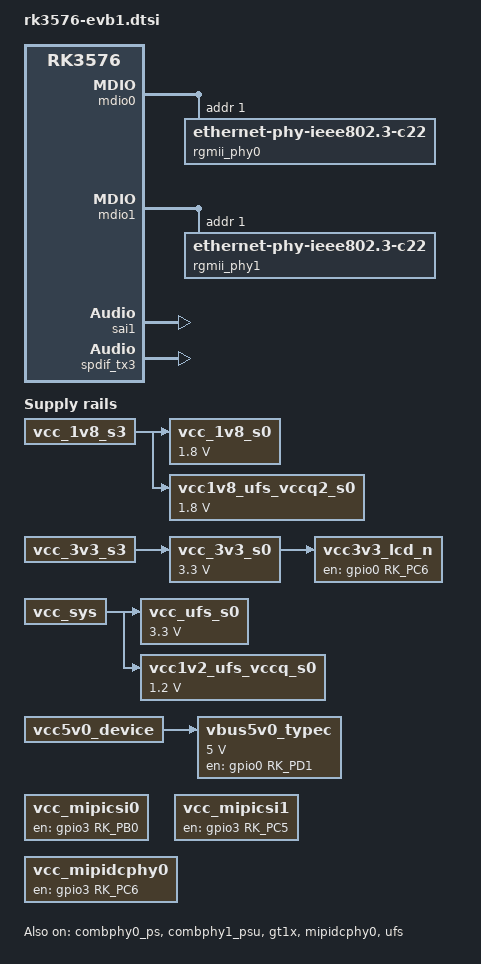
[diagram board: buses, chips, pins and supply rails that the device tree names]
// SPDX-License-Identifier: (GPL-2.0+ OR MIT)
/*
 * Copyright (c) 2024 Rockchip Electronics Co., Ltd.
 *
 */

#include <dt-bindings/usb/pd.h>
#include "rk3576-evb.dtsi"
#include "rk3576-rk806.dtsi"
#include "rk03/MLK-RK03.dtsi"

/ {
	pdmics: dummy-codec {
		status = "disabled";
		compatible = "rockchip,dummy-codec";
		#sound-dai-cells = <0>;
	};

	pdm_mic_array: pdm-mic-array {
		status = "disabled";
		compatible = "simple-audio-card";
		simple-audio-card,name = "rockchip,pdm-mic-array";
		simple-audio-card,cpu {
			sound-dai = <&pdm1>;
		};
		simple-audio-card,codec {
			sound-dai = <&pdmics>;
		};
	};

	sdio_pwrseq: sdio-pwrseq {
		compatible = "mmc-pwrseq-simple";
		pinctrl-names = "default";
		/* pinctrl-0 = <&wifi_poweren_gpio>; */

		/*
		 * On the module itself this is one of these (depending
		 * on the actual card populated):
		 * - SDIO_RESET_L_WL_REG_ON
		 * - PDN (power down when low)
		 */
		post-power-on-delay-ms = <200>;
		reset-gpios = <&gpio1 RK_PC6 GPIO_ACTIVE_LOW>;
		status = "disabled";
	};

	vcc_1v8_s0: vcc-1v8-s0 {
		compatible = "regulator-fixed";
		regulator-name = "vcc_1v8_s0";
		regulator-boot-on;
		regulator-always-on;
		regulator-min-microvolt = <1800000>;
		regulator-max-microvolt = <1800000>;
		vin-supply = <&vcc_1v8_s3>;
	};

	vcc_3v3_s0: vcc-3v3-s0 {
		compatible = "regulator-fixed";
		regulator-name = "vcc_3v3_s0";
		regulator-boot-on;
		regulator-always-on;
		regulator-min-microvolt = <3300000>;
		regulator-max-microvolt = <3300000>;
		vin-supply = <&vcc_3v3_s3>;
	};

	vcc_ufs_s0: vcc-ufs-s0 {
		compatible = "regulator-fixed";
		regulator-name = "vcc_ufs_s0";
		regulator-boot-on;
		regulator-always-on;
		regulator-min-microvolt = <3300000>;
		regulator-max-microvolt = <3300000>;
		vin-supply = <&vcc_sys>;
	};

	vcc1v8_ufs_vccq2_s0: vcc1v8-ufs-vccq2-s0 {
		compatible = "regulator-fixed";
		regulator-name = "vcc1v8_ufs_vccq2_s0";
		regulator-boot-on;
		regulator-always-on;
		regulator-min-microvolt = <1800000>;
		regulator-max-microvolt = <1800000>;
		vin-supply = <&vcc_1v8_s3>;
	};

	vcc1v2_ufs_vccq_s0: vcc1v2-ufs-vccq-s0 {
		compatible = "regulator-fixed";
		regulator-name = "vcc1v2_ufs_vccq_s0";
		regulator-boot-on;
		regulator-always-on;
		regulator-min-microvolt = <1200000>;
		regulator-max-microvolt = <1200000>;
		vin-supply = <&vcc_sys>;
	};

	vcc3v3_lcd_n: vcc3v3-lcd0-n {
		compatible = "regulator-fixed";
		regulator-name = "vcc3v3_lcd0_n";
		regulator-boot-on;
		enable-active-high;
		gpio = <&gpio0 RK_PC6 GPIO_ACTIVE_HIGH>;
		vin-supply = <&vcc_3v3_s0>;
	};



	vbus5v0_typec: vbus5v0-typec {
		compatible = "regulator-fixed";
		regulator-name = "vbus5v0_typec";
		regulator-min-microvolt = <5000000>;
		regulator-max-microvolt = <5000000>;
		enable-active-high;
		gpio = <&gpio0 RK_PD1 GPIO_ACTIVE_HIGH>;
		vin-supply = <&vcc5v0_device>;
		pinctrl-names = "default";
		pinctrl-0 = <&usb_otg0_pwren>;
	};


	vcc_mipicsi0: vcc-mipicsi0-regulator {
		compatible = "regulator-fixed";
		gpio = <&gpio3 RK_PB0 GPIO_ACTIVE_HIGH>;
		pinctrl-names = "default";
		pinctrl-0 = <&mipicsi0_pwr>;
		regulator-name = "vcc_mipicsi0";
		enable-active-high;
	};

	vcc_mipicsi1: vcc-mipicsi1-regulator {
		compatible = "regulator-fixed";
		gpio = <&gpio3 RK_PC5 GPIO_ACTIVE_HIGH>;
		pinctrl-names = "default";
		pinctrl-0 = <&mipicsi1_pwr>;
		regulator-name = "vcc_mipicsi1";
		enable-active-high;
	};

	vcc_mipidcphy0: vcc-mipidcphy0-regulator {
		compatible = "regulator-fixed";
		gpio = <&gpio3 RK_PC6 GPIO_ACTIVE_HIGH>;
		pinctrl-names = "default";
		pinctrl-0 = <&mipidcphy0_pwr>;
		regulator-name = "vcc_mipidcphy0";
		enable-active-high;
	};
};

&combphy0_ps {
	status = "okay";
};

&combphy1_psu {
	status = "okay";
};





&gt1x {
	status = "okay";
	power-supply = <&vcc3v3_lcd_n>;
};


&i2c7 {
	status = "disabled";
	pinctrl-names = "default";
	pinctrl-0 = <&i2c7m1_xfer>;


	icm42607_acc: icm_acc@68 {
		status = "okay";
		compatible = "icm42607_acc";
		reg = <0x68>;
		irq-gpio = <&gpio1 RK_PD5 IRQ_TYPE_EDGE_RISING>;
		irq_enable = <0>;
		poll_delay_ms = <30>;
		type = <SENSOR_TYPE_ACCEL>;
		layout = <4>;
	};

	icm42607_gyro: icm_gyro@68 {
		status = "okay";
		compatible = "icm42607_gyro";
		reg = <0x68>;
		poll_delay_ms = <30>;
		type = <SENSOR_TYPE_GYROSCOPE>;
		layout = <4>;
	};
}; 

&mdio0 {
	rgmii_phy0: phy@1 {
		compatible = "ethernet-phy-ieee802.3-c22";
		reg = <0x1>;
		clocks = <&cru REFCLKO25M_GMAC0_OUT>;
	};
};

&mdio1 {
	rgmii_phy1: phy@1 {
		compatible = "ethernet-phy-ieee802.3-c22";
		reg = <0x1>;
		clocks = <&cru REFCLKO25M_GMAC1_OUT>;
	};
};

&mipidcphy0 {
	status = "okay";
};

&pdm1 {
	status = "disabled";
	pinctrl-names = "default", "idle", "clk";
	pinctrl-0 = <&pdm1m1_sdi0
		     &pdm1m1_sdi1
		     &pdm1m1_sdi2
		     &pdm1m1_sdi3>;
	pinctrl-1 = <&pdm1m1_clk0_idle
		     &pdm1m1_clk1_idle>;
	pinctrl-2 = <&pdm1m1_clk0
		     &pdm1m1_clk1>;
};

&pinctrl {
	cam {
		mipicsi0_pwr: mipicsi0-pwr {
			rockchip,pins =
				/* camera power en */
				<3 RK_PB0 RK_FUNC_GPIO &pcfg_pull_none>;
		};

		mipicsi1_pwr: mipicsi1-pwr {
			rockchip,pins =
				/* camera power en */
				<3 RK_PC5 RK_FUNC_GPIO &pcfg_pull_none>;
		};

		mipidcphy0_pwr: mipidcphy0-pwr {
			rockchip,pins =
				/* camera power en */
				<3 RK_PC6 RK_FUNC_GPIO &pcfg_pull_none>;
		};
	};

	
};


&sai1 {
	status = "okay";
	pinctrl-names = "default";
	pinctrl-0 = <&sai1m0_lrck
		     &sai1m0_sclk
		     &sai1m0_sdi0
		     &sai1m0_sdo0>;
};



&spdif_tx3 {
	status = "okay";
};

&ufs {
	vcc-supply = <&vcc_ufs_s0>;
	vccq-supply = <&vcc1v2_ufs_vccq_s0>;
	vccq2-supply = <&vcc1v8_ufs_vccq2_s0>;
	status = "okay";
};

&sdio {
	max-frequency = <200000000>;
	no-sd;
	no-mmc;
	bus-width = <4>;
	disable-wp;
	cap-sd-highspeed;
	cap-sdio-irq;
	keep-power-in-suspend;
	/* mmc-pwrseq = <&sdio_pwrseq>; */
	non-removable;
	pinctrl-names = "default";
	pinctrl-0 = <&sdmmc1m0_bus4 &sdmmc1m0_clk &sdmmc1m0_cmd >;
	sd-uhs-sdr104;
	status = "disabled";
};
&pinctrl {
	sdmmc1 {
		/omit-if-no-ref/
		sdmmc1m0_bus4: sdmmc1m0-bus4 {
			rockchip,pins =
				/* sdmmc1_d0_m0 */
				<1 RK_PB4 2 &pcfg_pull_up_drv_level_2>,
				/* sdmmc1_d1_m0 */
				<1 RK_PB5 2 &pcfg_pull_up_drv_level_2>,
				/* sdmmc1_d2_m0 */
				<1 RK_PB6 2 &pcfg_pull_up_drv_level_2>,
				/* sdmmc1_d3_m0 */
				<1 RK_PB7 2 &pcfg_pull_up_drv_level_2>;
		};

		/omit-if-no-ref/
		sdmmc1m0_clk: sdmmc1m0-clk {
			rockchip,pins =
				/* sdmmc1_clk_m0 */
				<1 RK_PC1 2 &pcfg_pull_up_drv_level_2>;
		};

		/omit-if-no-ref/
		sdmmc1m0_cmd: sdmmc1m0-cmd {
			rockchip,pins =
				/* sdmmc1_cmd_m0 */
				<1 RK_PC0 2 &pcfg_pull_up_drv_level_2>;
		};

		/omit-if-no-ref/
		sdmmc1m0_det: sdmmc1m0-det {
			rockchip,pins =
				/* sdmmc1_detn_m0 */
				<1 RK_PC3 2 &pcfg_pull_up>;
		};

		/omit-if-no-ref/
		sdmmc1m0_pwren: sdmmc1m0-pwren {
			rockchip,pins =
				/* sdmmc1m0_pwren */
				<1 RK_PC2 2 &pcfg_pull_none>;
		};

		/omit-if-no-ref/
		sdmmc1m1_bus4: sdmmc1m1-bus4 {
			rockchip,pins =
				/* sdmmc1_d0_m1 */
				<2 RK_PA6 2 &pcfg_pull_up_drv_level_2>,
				/* sdmmc1_d1_m1 */
				<2 RK_PA7 2 &pcfg_pull_up_drv_level_2>,
				/* sdmmc1_d2_m1 */
				<2 RK_PB0 2 &pcfg_pull_up_drv_level_2>,
				/* sdmmc1_d3_m1 */
				<2 RK_PB1 2 &pcfg_pull_up_drv_level_2>;
		};

		/omit-if-no-ref/
		sdmmc1m1_clk: sdmmc1m1-clk {
			rockchip,pins =
				/* sdmmc1_clk_m1 */
				<2 RK_PB3 2 &pcfg_pull_up_drv_level_2>;
		};

		/omit-if-no-ref/
		sdmmc1m1_cmd: sdmmc1m1-cmd {
			rockchip,pins =
				/* sdmmc1_cmd_m1 */
				<2 RK_PB2 2 &pcfg_pull_up_drv_level_2>;
		};

		/omit-if-no-ref/
		sdmmc1m1_det: sdmmc1m1-det {
			rockchip,pins =
				/* sdmmc1_detn_m1 */
				<2 RK_PB5 2 &pcfg_pull_up>;
		};

		/omit-if-no-ref/
		sdmmc1m1_pwren: sdmmc1m1-pwren {
			rockchip,pins =
				/* sdmmc1m1_pwren */
				<2 RK_PB4 2 &pcfg_pull_none>;
		};

		/omit-if-no-ref/
		sdmmc1m2_det: sdmmc1m2-det {
			rockchip,pins =
				/* sdmmc1_detn_m2 */
				<0 RK_PB6 2 &pcfg_pull_up>;
		};
	};
};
